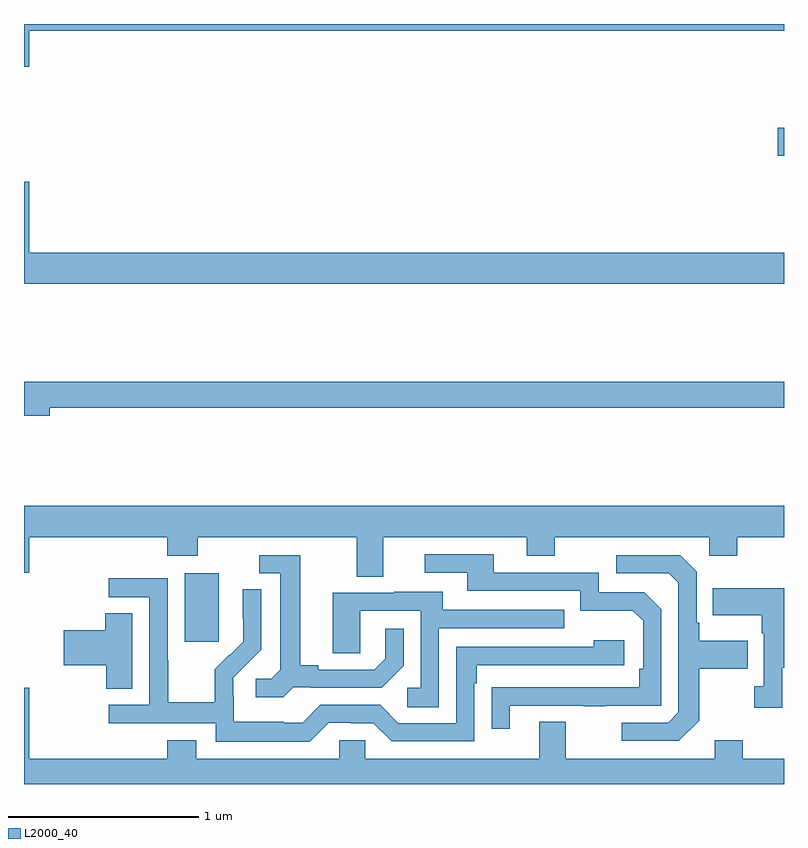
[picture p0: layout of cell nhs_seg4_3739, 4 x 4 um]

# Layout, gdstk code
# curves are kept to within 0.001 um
import gdstk
lib = gdstk.Library(unit=1e-6, precision=1e-09)
def R(c, l, rs):  # rectangles x0, y0, x1, y1
    for r in rs: c.add(gdstk.rectangle(r[:2], r[2:], *l))
def P(c, l, *ps):  # polygons
    for p in ps: c.add(gdstk.Polygon(p, *l))
L2000_40 = (2000, 40)

nhs_seg4_3739 = lib.new_cell('nhs_seg4_3739')
R(nhs_seg4_3739, L2000_40, [(309.845,749.649,310.024,750.01), (312.966,752.207,313,752.354)])
P(nhs_seg4_3739, L2000_40, [(309.028,752.864),(313,752.864),(313,752.9),(309,752.9),(309,752.676),(309.028,752.676)],
  [(313,751.696),(309.028,751.696),(309.028,752.071),(309,752.071),(309,751.532),(313,751.532)],
  [(309.136,750.88),(313,750.88),(313,751.016),(309,751.016),(309,750.838),(309.136,750.838)],
  [(310.891,750.2),(311.645,750.2),(311.645,750.101),(311.793,750.101),(311.793,750.2),(312.606,750.2),(312.606,750.101),(312.753,750.101),(312.753,750.2),(313,750.2),(313,750.364),(309,750.364),(309,750.012),(309.028,750.012),(309.028,750.2),(309.755,750.2),(309.755,750.101),(309.915,750.101),(309.915,750.2),(310.751,750.2),(310.751,749.992),(310.891,749.992)],
  [(311.557,749.313),(311.947,749.313),(311.947,749.308),(312.059,749.308),(312.059,749.313),(312.354,749.313),(312.354,749.82),(312.264,749.91),(312.024,749.91),(312.024,750.012),(311.473,750.012),(311.473,750.108),(311.109,750.108),(311.109,750.012),(311.333,750.012),(311.333,749.916),(311.928,749.916),(311.928,749.813),(312.205,749.813),(312.258,749.76),(312.258,749.506),(312.238,749.506),(312.238,749.409),(311.461,749.408),(311.461,749.19),(311.557,749.19)],
  [(310.416,749.409),(310.51,749.409),(310.51,749.406),(310.882,749.406),(310.998,749.522),(310.998,749.716),(310.901,749.716),(310.901,749.559),(310.844,749.502),(310.549,749.502),(310.549,749.525),(310.453,749.525),(310.453,750.105),(310.239,750.105),(310.239,750.009),(310.349,750.009),(310.349,749.501),(310.302,749.454),(310.221,749.454),(310.221,749.357),(310.364,749.357)],
  [(312.553,749.233),(312.553,749.506),(312.809,749.506),(312.809,749.653),(312.553,749.653),(312.553,749.749),(312.54,749.749),(312.54,750.018),(312.453,750.105),(312.117,750.105),(312.117,750.009),(312.393,750.009),(312.444,749.958),(312.444,749.277),(312.39,749.223),(312.147,749.223),(312.147,749.127),(312.447,749.127)],
  [(310.605,749.223),(310.721,749.223),(310.721,749.22),(310.839,749.22),(310.935,749.124),(311.37,749.124),(311.37,749.429),(311.383,749.429),(311.383,749.526),(312.16,749.526),(312.16,749.656),(311.999,749.656),(311.999,749.622),(311.274,749.622),(311.274,749.22),(310.971,749.22),(310.875,749.316),(310.56,749.316),(310.467,749.223),(310.367,749.223),(310.367,749.227),(310.104,749.227),(310.104,749.361),(310.102,749.361),(310.102,749.458),(310.248,749.606),(310.248,749.924),(310.152,749.924),(310.152,749.77),(310.154,749.77),(310.154,749.648),(310.083,749.577),(310.08,749.58),(310.003,749.503),(310.003,749.329),(309.759,749.329),(309.759,749.552),(309.756,749.552),(309.756,749.982),(309.447,749.982),(309.447,749.883),(309.66,749.883),(309.66,749.316),(309.447,749.316),(309.447,749.22),(310.008,749.22),(310.008,749.123),(310.505,749.123)],
  [(312.991,749.513),(313,749.513),(313,749.929),(312.625,749.929),(312.625,749.789),(312.882,749.789),(312.882,749.693),(312.894,749.693),(312.894,749.414),(312.843,749.414),(312.843,749.301),(312.991,749.301)],
  [(311.184,749.721),(311.843,749.721),(311.843,749.817),(311.203,749.817),(311.203,749.911),(310.949,749.911),(310.949,749.907),(310.625,749.907),(310.625,749.587),(310.77,749.587),(310.77,749.811),(311.088,749.811),(311.088,749.406),(311.016,749.406),(311.016,749.305),(311.184,749.305)],
  [(309.571,749.798),(309.428,749.798),(309.428,749.708),(309.21,749.708),(309.21,749.525),(309.433,749.525),(309.433,749.401),(309.571,749.401)],
  [(313,749.032),(312.783,749.032),(312.783,749.131),(312.635,749.131),(312.635,749.032),(311.851,749.032),(311.851,749.227),(311.711,749.227),(311.711,749.032),(310.797,749.032),(310.797,749.13),(310.659,749.13),(310.659,749.032),(309.907,749.032),(309.907,749.131),(309.755,749.131),(309.755,749.032),(309.028,749.032),(309.028,749.407),(309,749.407),(309,748.9),(313,748.9)])

lib.write_gds('nhs_seg4_3739.gds')
